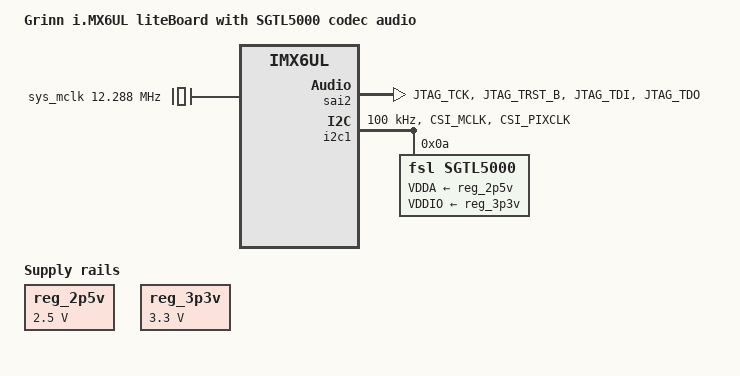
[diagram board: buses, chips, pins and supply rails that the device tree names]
/*
 * Copyright 2017 Grinn
 *
 * Author: Bartosz Bilas <b.bilas@grinn-global.com>
 *
 * This file is dual-licensed: you can use it either under the terms
 * of the GPL or the X11 license, at your option. Note that this dual
 * licensing only applies to this file, and not this project as a
 * whole.
 *
 *  a) This file is free software; you can redistribute it and/or
 *     modify it under the terms of the GNU General Public License
 *     version 2 as published by the Free Software Foundation.
 *
 *     This file is distributed in the hope that it will be useful
 *     but WITHOUT ANY WARRANTY; without even the implied warranty of
 *     MERCHANTABILITY or FITNESS FOR A PARTICULAR PURPOSE.  See the
 *     GNU General Public License for more details.
 *
 * Or, alternatively
 *
 *  b) Permission is hereby granted, free of charge, to any person
 *     obtaining a copy of this software and associated documentation
 *     files (the "Software"), to deal in the Software without
 *     restriction, including without limitation the rights to use
 *     copy, modify, merge, publish, distribute, sublicense, and/or
 *     sell copies of the Software, and to permit persons to whom the
 *     Software is furnished to do so, subject to the following
 *     conditions:
 *
 *     The above copyright notice and this permission notice shall be
 *     included in all copies or substantial portions of the Software.
 *
 *     THE SOFTWARE IS PROVIDED , WITHOUT WARRANTY OF ANY KIND
 *     EXPRESS OR IMPLIED, INCLUDING BUT NOT LIMITED TO THE WARRANTIES
 *     OF MERCHANTABILITY, FITNESS FOR A PARTICULAR PURPOSE AND
 *     NONINFRINGEMENT. IN NO EVENT SHALL THE AUTHORS OR COPYRIGHT
 *     HOLDERS BE LIABLE FOR ANY CLAIM, DAMAGES OR OTHER LIABILITY
 *     WHETHER IN AN ACTION OF CONTRACT, TORT OR OTHERWISE, ARISING
 *     FROM, OUT OF OR IN CONNECTION WITH THE SOFTWARE OR THE USE OR
 *     OTHER DEALINGS IN THE SOFTWARE.
 */

#include "imx6ul-liteboard.dts"

/ {
	model = "Grinn i.MX6UL liteBoard with SGTL5000 codec audio";

	sound {
		compatible = "karo,imx6ul-tx6ul-sgtl5000",
			     "simple-audio-card";
		simple-audio-card,name = "imx6ul-tx6ul-sgtl5000-audio";
		simple-audio-card,format = "i2s";
		simple-audio-card,bitclock-master = <&codec_dai>;
		simple-audio-card,frame-master = <&codec_dai>;
		simple-audio-card,widgets =
			"Microphone", "Mic Jack",
			"Line", "Line In",
			"Line", "Line Out",
			"Headphone", "Headphone Jack";
		simple-audio-card,routing =
			"MIC_IN", "Mic Jack",
			"Mic Jack", "Mic Bias",
			"Headphone Jack", "HP_OUT";

		cpu_dai: simple-audio-card,cpu {
			sound-dai = <&sai2>;
		};

		codec_dai: simple-audio-card,codec {
			sound-dai = <&sgtl5000>;
		};
	};

	sys_mclk: clock-sys-mclk {
		compatible = "fixed-clock";
		#clock-cells = <0>;
		clock-frequency = <12288000>;
	};
	
	reg_2p5v: regulator-2p5v {
		compatible = "regulator-fixed";
		regulator-name = "2P5V";
		regulator-min-microvolt = <2500000>;
		regulator-max-microvolt = <2500000>;
	};

	reg_3p3v: regulator-3p3v {
		compatible = "regulator-fixed";
		regulator-name = "3P3V";
		regulator-min-microvolt = <3300000>;
		regulator-max-microvolt = <3300000>;
	};
};

&iomuxc {

	pinctrl_sai2: sai2grp {
		fsl,pins = <
			
			MX6UL_PAD_JTAG_TCK__SAI2_RX_DATA	0x130b0
			MX6UL_PAD_JTAG_TRST_B__SAI2_TX_DATA	0x120b0
			MX6UL_PAD_JTAG_TDI__SAI2_TX_BCLK	0x17088
			MX6UL_PAD_JTAG_TDO__SAI2_TX_SYNC	0x17088
		>;
	};

	pinctrl_i2c1: i2c1grp {
		fsl,pins = <
			MX6UL_PAD_CSI_MCLK__I2C1_SDA 0x4001b8b0
			MX6UL_PAD_CSI_PIXCLK__I2C1_SCL 0x4001b8b0
		>;
	};
};

&clks {
	assigned-clocks = <&clks IMX6UL_CLK_PLL4_AUDIO_DIV>;
	assigned-clock-rates = <786432000>;
};

&sai2 {
	pinctrl-names = "default";
	pinctrl-0 = <&pinctrl_sai2>;
	status = "okay";
};

&i2c1 {
	clock-frequency = <100000>;
	pinctrl-names = "default";
	pinctrl-0 = <&pinctrl_i2c1>;
	status = "okay";

	sgtl5000: codec@0a {
		reg = <0x0a>;
		#sound-dai-cells = <0>;
		compatible = "fsl,sgtl5000";
		clocks = <&sys_mclk>;
		VDDA-supply = <&reg_2p5v>;
		VDDIO-supply = <&reg_3p3v>;
	};
};
